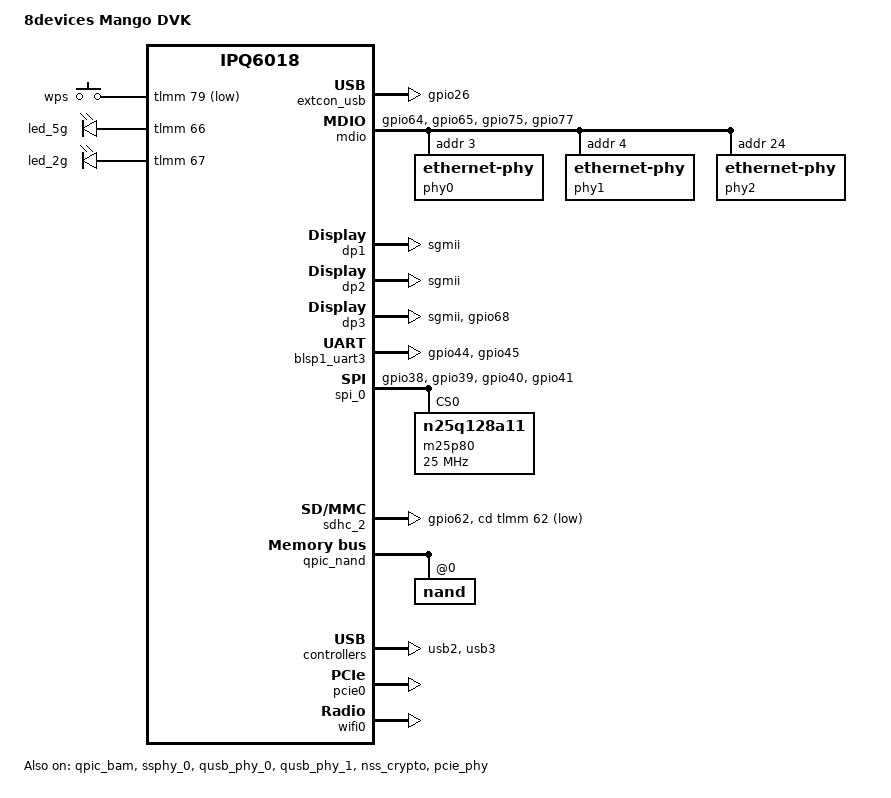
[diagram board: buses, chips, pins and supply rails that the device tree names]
/dts-v1/;
/*
 * Copyright (c) 2019, The Linux Foundation. All rights reserved.
 *
 * Permission to use, copy, modify, and/or distribute this software for any
 * purpose with or without fee is hereby granted, provided that the above
 * copyright notice and this permission notice appear in all copies.
 *
 * THE SOFTWARE IS PROVIDED "AS IS" AND THE AUTHOR DISCLAIMS ALL WARRANTIES
 * WITH REGARD TO THIS SOFTWARE INCLUDING ALL IMPLIED WARRANTIES OF
 * MERCHANTABILITY AND FITNESS. IN NO EVENT SHALL THE AUTHOR BE LIABLE FOR
 * ANY SPECIAL, DIRECT, INDIRECT, OR CONSEQUENTIAL DAMAGES OR ANY DAMAGES
 * WHATSOEVER RESULTING FROM LOSS OF USE, DATA OR PROFITS, WHETHER IN AN
 * ACTION OF CONTRACT, NEGLIGENCE OR OTHER TORTIOUS ACTION, ARISING OUT OF
 * OR IN CONNECTION WITH THE USE OR PERFORMANCE OF THIS SOFTWARE.
 */

#include "ipq6018.dtsi"
#include <dt-bindings/input/input.h>
#include "ipq6018-cpr-regulator.dtsi"

/ {
	#address-cells = <0x2>;
	#size-cells = <0x2>;
	model = "8devices Mango DVK";
	compatible = "8devices,mango", "qcom,ipq6018";
	interrupt-parent = <&intc>;
	qcom,msm-id = <0x192 0x0>, <0x193 0x0>;

	aliases {
		serial0 = &blsp1_uart3;
		sdhc2 = &sdhc_2;
		/*
		 * Aliases as required by u-boot
		 * to patch MAC addresses
		 */
		ethernet0 = "/soc/dp1";
		ethernet1 = "/soc/dp2";
		ethernet2 = "/soc/dp3";
	};

	chosen {
		bootargs = "console=ttyMSM0,115200,n8 rw init=/init";
		bootargs-append = " swiotlb=1 coherent_pool=2M";
	};
};

&tlmm {
	uart_pins: uart_pins {
		mux {
			pins = "gpio44", "gpio45";
			function = "blsp2_uart";
			drive-strength = <8>;
			bias-pull-down;
		};
	};

	spi_0_pins: spi_0_pins {
		mux {
			pins = "gpio38", "gpio39", "gpio40", "gpio41";
			function = "blsp0_spi";
			drive-strength = <8>;
			bias-pull-down;
		};
	};

	qpic_pins: qpic-pins {
		pins = "gpio1", "gpio3", "gpio4",
			"gpio5", "gpio6", "gpio7",
			"gpio8", "gpio10", "gpio11",
			"gpio12", "gpio13", "gpio14",
			"gpio15", "gpio17";
		function = "qpic_pad";
		drive-strength = <8>;
		bias-pull-down;
	};

	sd_pins: sd_pins {
		mux {
			pins = "gpio62";
			function = "sd_card";
			drive-strength = <8>;
			bias-pull-up;
		};
	};

	extcon_usb_pins: extcon_usb_pins {
		mux {
			pins = "gpio26";
			function = "gpio";
			drive-strength = <2>;
			bias-pull-down;
		};
	};

	button_pins: button_pins {
		wps_button {
			pins = "gpio79";
			function = "gpio";
			drive-strength = <8>;
			bias-pull-up;
		};
	};

	mdio_pins: mdio_pinmux {
		mux_0 {
			pins = "gpio64";
			function = "mdc";
			drive-strength = <8>;
			bias-pull-up;
		};
		mux_1 {
			pins = "gpio65";
			function = "mdio";
			drive-strength = <8>;
			bias-pull-up;
		};
		mux_2 {
			pins = "gpio75";
			function = "gpio";
			bias-pull-up;
		};
		mux_3 {
			pins = "gpio77";
			function = "gpio";
			bias-pull-up;
		};
	};

	leds_pins: leds_pins {
		led_5g {
			pins = "gpio66";
			function = "gpio";
			drive-strength = <8>;
			bias-pull-down;
		};
		led_2g {
			pins = "gpio67";
			function = "gpio";
			drive-strength = <8>;
			bias-pull-down;
		};
	};

	sfp_sense_pins: sfp_sense_pins {
		mux {
			pins = "gpio68";
			function = "gpio";
			bias-pull-up;
		};
	};
};

&soc {
	extcon_usb: extcon_usb {
		pinctrl-0 = <&extcon_usb_pins>;
		pinctrl-names = "default";
		id-gpio = <&tlmm 26 GPIO_ACTIVE_LOW>;
		status = "ok";
	};

	mdio: mdio@90000 {
		pinctrl-0 = <&mdio_pins>;
		pinctrl-names = "default";
		phy-reset-gpio = <&tlmm 75 0 &tlmm 77 1>;
		status = "ok";
		phy0: ethernet-phy@0 {
			reg = <3>;
		};
		phy1: ethernet-phy@1 {
			reg = <4>;
		};
		phy2: ethernet-phy@2 {
			reg = <0x18>;
		};
	};

	dp1 {
		device_type = "network";
		compatible = "qcom,nss-dp";
		qcom,id = <4>;
		reg = <0x3a001400 0x200>;
		qcom,mactype = <0>;
		local-mac-address = [000000000000];
		qcom,link-poll = <1>;
		qcom,phy-mdio-addr = <3>;
		phy-mode = "sgmii";
	};

	dp2 {
		device_type = "network";
		compatible = "qcom,nss-dp";
		qcom,id = <3>;
		reg = <0x3a001600 0x200>;
		qcom,mactype = <0>;
		local-mac-address = [000000000000];
		qcom,link-poll = <1>;
		qcom,phy-mdio-addr = <4>;
		phy-mode = "sgmii";
	};

	dp3 {
		device_type = "network";
		compatible = "qcom,nss-dp";
		qcom,id = <5>;
		reg = <0x3a001800 0x200>;
		qcom,mactype = <0>;
		local-mac-address = [000000000000];
		pinctrl-0 = <&sfp_sense_pins>;
		sfp_sense_gpio = <&tlmm 68 GPIO_ACTIVE_LOW>;
		qcom,link-poll = <1>;
		qcom,phy-mdio-addr = <24>;
		phy-mode = "sgmii";
	};

	nss-macsec0 {
		compatible = "qcom,nss-macsec";
		phy_addr = <0x18>;
		phy_access_mode = <0>;
		mdiobus = <&mdio>;
	};

	ess-switch@3a000000 {
		switch_cpu_bmp = <0x1>;  /* cpu port bitmap */
		switch_lan_bmp = <0x18>; /* lan port bitmap */
		switch_wan_bmp = <0x20>; /* wan port bitmap */
		switch_inner_bmp = <0xc0>; /*inner port bitmap*/
		switch_mac_mode = <0x0>; /* mac mode for uniphy instance0*/
		switch_mac_mode1 = <0xf>; /* mac mode for uniphy instance1*/
		switch_mac_mode1_sfp = <0x14>; /* mac mode for uniphy instance1 in SFP case - only used if sfp_sense_gpio is defined*/
		switch_mac_mode2 = <0xff>; /* mac mode for uniphy instance2*/
		pinctrl-0 = <&sfp_sense_pins>;
		sfp_sense_gpio = <&tlmm 68 GPIO_ACTIVE_LOW>;
		qcom,port_phyinfo {
			port@3 {
				port_id = <4>;
				phy_address = <3>;
			};
			port@4 {
				port_id = <3>;
				phy_address = <4>;
			};
			port@5 {
				port_id = <5>;
				phy_address = <0x18>;
				port_mac_sel = "QGMAC_PORT";
			};
		};
	};

	gpio_keys {
		compatible = "gpio-keys";
		pinctrl-0 = <&button_pins>;
		pinctrl-names = "default";

		wps {
			label = "wps";
			linux,code = <KEY_WPS_BUTTON>;
			gpios = <&tlmm 79 GPIO_ACTIVE_LOW>;
			linux,input-type = <1>;
			debounce-interval = <60>;
		};
	};

	leds {
		compatible = "gpio-leds";
		pinctrl-0 = <&leds_pins>;
		pinctrl-names = "default";

		led@66 {
			label = "led_5g";
			gpios = <&tlmm 66 GPIO_ACTIVE_HIGH>;
			linux,default-trigger = "led_5g";
			default-state = "off";
		};
		led@67 {
			label = "led_2g";
			gpios = <&tlmm 67 GPIO_ACTIVE_HIGH>;
			linux,default-trigger = "led_2g";
			default-state = "off";
		};
	};
};

&blsp1_uart3 {
	pinctrl-0 = <&uart_pins>;
	pinctrl-names = "default";
	status = "ok";
};

&spi_0 {
	pinctrl-0 = <&spi_0_pins>;
	pinctrl-names = "default";
	cs-select = <0>;
	status = "ok";

	m25p80@0 {
		#address-cells = <1>;
		#size-cells = <1>;
		reg = <0>;
		compatible = "n25q128a11";
		linux,modalias = "m25p80", "n25q128a11";
		spi-max-frequency = <25000000>;
		use-default-sizes;

		partition0 {
			label = "0:SBL1";
			reg = <0x00000000 0x000c0000>;
		};
		partition1 {
			label = "0:MIBIB";
			reg = <0x000c0000 0x00010000>;
		};
		partition2 {
			label = "0:QSEE";
			reg = <0x000d0000 0x001a0000>;
		};
		partition3 {
			label = "0:DEVCFG";
			reg = <0x00270000 0x00010000>;
		};
		partition4 {
			label = "0:RPM";
			reg = <0x00280000 0x00020000>;
		};
		partition5 {
			label = "0:CDT";
			reg = <0x002a0000 0x00010000>;
		};
		partition6 {
			label = "0:APPSBLENV";
			reg = <0x002b0000 0x00010000>;
		};
		partition7 {
			label = "0:APPSBL";
			reg = <0x002c0000 0x000a0000>;
		};
		partition8 {
			label = "0:ART";
			reg = <0x00360000 0x00040000>;
		};
		partition9 {
			label = "config";
			reg = <0x003a0000 0x00040000>;
		};
		partition10 {
			label = "data";
			reg = <0x003e0000 0x00100000>;
		};
		partition11 {
			label = "firmware";
			reg = <0x004e0000 0x1b20000>;
		};
	};
};

&sdhc_2 {
	pinctrl-0 = <&sd_pins>;
	pinctrl-names = "default";
	cd-gpios = <&tlmm 62 1>;
	vqmmc-supply = <&ipq6018_l2>;
	status = "ok";
};

&qpic_bam {
	status = "ok";
};

&qpic_nand {
        status = "ok";

        nand@0 {
                reg = <0>;
                #address-cells = <1>;
                #size-cells = <1>;

                nand-ecc-strength = <4>;
                nand-ecc-step-size = <512>;
                nand-bus-width = <8>;
        };
};

&ssphy_0 {
	status = "ok";
};

&qusb_phy_0 {
	status = "ok";
};

&qusb_phy_1 {
	status = "ok";
};

&usb2 {
	status = "ok";
};

&usb3 {
	status = "ok";
};

&nss_crypto {
	status = "ok";
};

&pcie_phy {
	status = "ok";
};

&pcie0 {
	status = "ok";
};

&wifi0 {
	compatible = "qcom,ipq6018-wifi";
	qcom,board_id = <0x31>;
	status = "ok";
};
